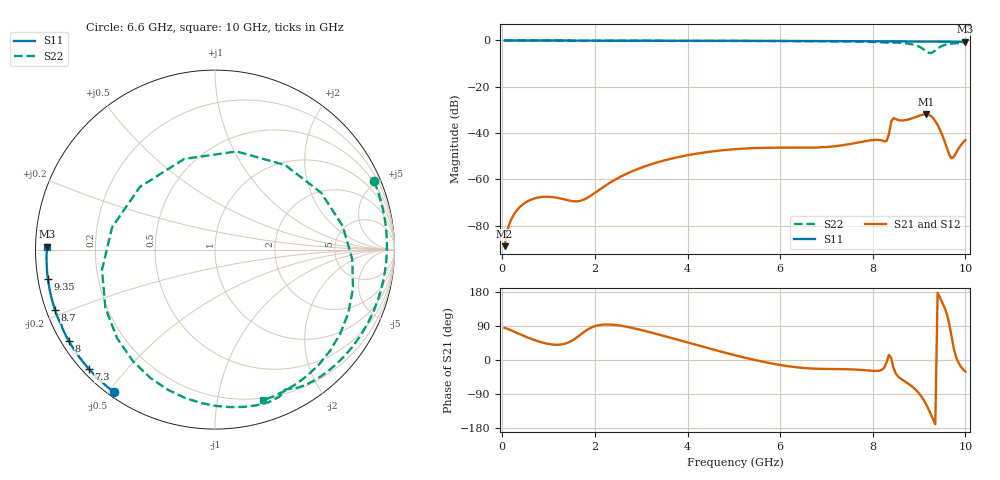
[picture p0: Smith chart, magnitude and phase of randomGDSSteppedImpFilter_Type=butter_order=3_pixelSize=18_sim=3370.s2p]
! freq	dB(S11)	phase(S11)	dB(S12)	phase(S12)
!  dB(S21)	phase(S21)	dB(S22)	phase(S22)
!S-par simulation data
#  GHz  S  DB  R 50
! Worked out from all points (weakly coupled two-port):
!   200 points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, 50 MHz to 10 GHz, reference 50 ohm
!   highest |S21| = -31.89 dB at 9.15 GHz (marker M1); lowest = -88.9 dB at 50 MHz (marker M2)
!   lowest |S11| = -0.6 dB at 10 GHz (marker M3), VSWR 30.55, Z = 1.64 + j0.445 ohm
!   |S11| at or under -10 dB: nowhere
!   |S22| runs from -5.5 to 0.0 dB; largest |S21 - S12| = 0
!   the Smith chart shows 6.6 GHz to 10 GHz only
!   S11 on the Smith chart (normalised r, x): 6.6 GHz: 0.02, -0.52; 7.3 GHz: 0.02, -0.40; 8 GHz: 0.02, -0.29; 8.7 GHz: 0.02, -0.18; 9.35 GHz: 0.03, -0.09; 10 GHz: 0.03, +0.01
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0.05  -0.00 -1.1  -88.90 84.6  -88.90 84.6  -0.00 -4.9
0.45  -0.01 -9.6  -70.75 64.4  -70.75 64.4  -0.06 -43.1
0.8  -0.02 -17.0  -67.79 48.4  -67.79 48.4  -0.09 -73.2
1.75  -0.05 -36.7  -68.86 72.7  -68.86 72.7  -0.12 -136.7
2.5  -0.07 -51.8  -59.46 91.5  -59.46 91.5  -0.14 -173.5
3.4  -0.09 -69.2  -52.38 66.5  -52.38 66.5  -0.16 149.4
5.05  -0.15 -99.1  -46.95 11.8  -46.95 11.8  -0.22 86.0
6.6  -0.24 -125.2  -46.35 -21.9  -46.35 -21.9  -0.31 23.3
6.7  -0.24 -126.9  -46.32 -22.6  -46.32 -22.6  -0.32 19.0
7.3  -0.29 -136.6  -45.41 -24.0  -45.41 -24.0  -0.40 -7.2
8  -0.35 -148.0  -43.03 -28.5  -43.03 -28.5  -0.62 -41.3
8.3  -0.39 -152.9  -43.42 -5.2  -43.42 -5.2  -0.94 -59.0
8.35  -0.41 -153.7  -40.27 13.7  -40.27 13.7  -1.11 -61.8
8.45  -0.41 -155.1  -33.50 -21.7  -33.50 -21.7  -0.97 -66.3
8.7  -0.42 -159.2  -34.46 -57.1  -34.46 -57.1  -1.20 -89.6
8.95  -0.45 -163.4  -32.92 -81.3  -32.92 -81.3  -2.25 -126.4
9.15  -0.47 -166.7  -31.89 -116.6  -31.89 -116.6  -4.63 167.8
9.25  -0.48 -168.3  -32.58 -142.2  -32.58 -142.2  -5.46 108.8
9.35  -0.49 -170.0  -34.83 -169.5  -34.83 -169.5  -4.26 50.3
9.5  -0.51 -172.5  -40.87 152.2  -40.87 152.2  -2.31 -3.9
9.7  -0.53 -175.9  -50.97 62.5  -50.97 62.5  -1.38 -41.2
10  -0.57 179.0  -43.07 -30.7  -43.07 -30.7  -1.10 -72.4
